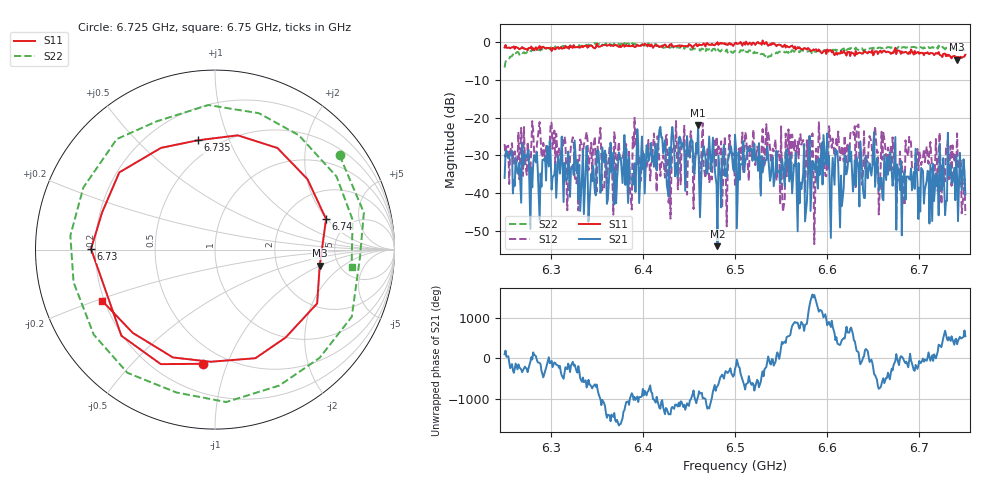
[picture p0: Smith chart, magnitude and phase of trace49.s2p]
# Hz S RI R 50
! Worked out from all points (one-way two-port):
!   401 points, 6.25 GHz to 6.75 GHz, reference 50 ohm
!   highest |S21| = -21.97 dB at 6.46 GHz (marker M1); lowest = -54.1 dB at 6.481 GHz (marker M2)
!   lowest |S11| = -4.6 dB at 6.741 GHz (marker M3), VSWR 3.88, Z = 180 - j49 ohm
!   |S11| at or under -10 dB: nowhere
!   |S22| runs from -6.7 to -0.1 dB; largest |S21 - S12| = 0.12
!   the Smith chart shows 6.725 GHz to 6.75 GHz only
!   S11 on the Smith chart (normalised r, x): 6.725 GHz: 0.38, -0.83; 6.73 GHz: 0.18, +0.00; 6.735 GHz: 0.39, +0.77; 6.74 GHz: 3.38, +1.95; 6.75 GHz: 0.19, -0.21
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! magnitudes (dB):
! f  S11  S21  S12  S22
! 6.25 GHz  -1.3  -36.0  -27.0  -6.7
! 6.301 GHz  -2.3  -39.1  -21.4  -1.4
! 6.329 GHz  -1.3  -31.7  -31.2  -0.8
! 6.334 GHz  -1.0  -35.3  -27.4  -0.8
! 6.418 GHz  -1.2  -23.2  -31.5  -1.2
! 6.46 GHz  -0.9  -22.0  -30.3  -1.9
! 6.474 GHz  -0.7  -34.2  -35.0  -2.6
! 6.481 GHz  0.1  -54.1  -29.6  -1.7
! 6.5 GHz  -0.2  -24.5  -37.8  -2.3
! 6.536 GHz  -0.9  -30.1  -23.5  -3.7
! 6.551 GHz  -1.1  -30.9  -38.3  -2.4
! 6.572 GHz  -1.7  -38.9  -27.1  -2.1
! 6.584 GHz  -2.1  -31.4  -24.1  -3.1
! 6.628 GHz  -2.9  -39.6  -23.5  -1.7
! 6.668 GHz  -2.6  -29.2  -34.0  -1.3
! 6.684 GHz  -2.6  -34.0  -43.3  -1.2
! 6.725 GHz  -3.9  -37.9  -32.4  -1.2
! 6.73 GHz  -3.2  -42.1  -29.3  -1.5
! 6.735 GHz  -4.2  -37.2  -38.0  -1.5
! 6.74 GHz  -3.9  -30.0  -33.2  -1.8
! 6.741 GHz  -4.6  -35.6  -24.1  -1.7
! 6.75 GHz  -3.2  -40.4  -45.8  -2.3
